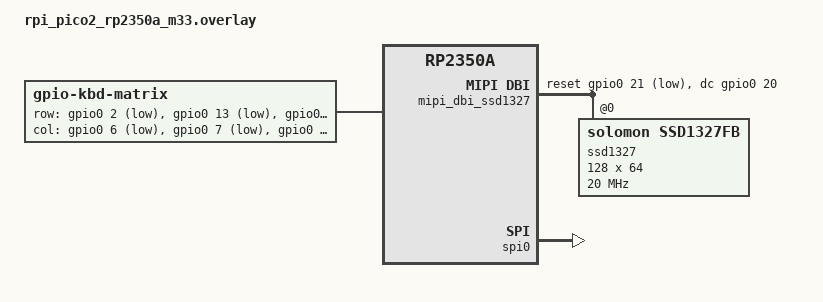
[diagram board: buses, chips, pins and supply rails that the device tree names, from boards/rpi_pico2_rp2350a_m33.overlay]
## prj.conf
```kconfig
CONFIG_DISPLAY=n
CONFIG_LOG=y
CONFIG_L3=y
CONFIG_ENGINE=y
CONFIG_HEAP_MEM_POOL_SIZE=4096
CONFIG_INPUT=n
CONFIG_TIMING_FUNCTIONS=y
CONFIG_SPEED_OPTIMIZATIONS=y
CONFIG_LOG_PERFORMANCE=n
CONFIG_TEST_RANDOM_GENERATOR=y
CONFIG_TIMER_RANDOM_GENERATOR=y
CONFIG_HEADLESS=y

#LVGL
CONFIG_LVGL=n

CONFIG_TARGET_PROCESS_FPS=30
CONFIG_TARGET_RENDER_FPS=30
CONFIG_RESOLUTION_X=128
CONFIG_RESOLUTION_Y=64
CONFIG_ISR_STACK_SIZE=8192
CONFIG_MAIN_STACK_SIZE=8192
CONFIG_BLIT_THREAD_STACK=8192
CONFIG_RENDER_THREAD_STACK=8192
CONFIG_PROCESS_THREAD_STACK=8192
CONFIG_LOG_BUFFER_SIZE=4096

CONFIG_COMPILER_OPT="-Ofast -ffast-math"
```

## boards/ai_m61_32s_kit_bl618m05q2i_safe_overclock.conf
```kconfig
CONFIG_TARGET_PROCESS_FPS=30
CONFIG_TARGET_RENDER_FPS=23
CONFIG_RESOLUTION_X=128
CONFIG_RESOLUTION_Y=64
CONFIG_ISR_STACK_SIZE=8192
CONFIG_MAIN_STACK_SIZE=8192
CONFIG_BLIT_THREAD_STACK=8192
CONFIG_RENDER_THREAD_STACK=8192
CONFIG_PROCESS_THREAD_STACK=8192
CONFIG_LOG_BUFFER_SIZE=4096
CONFIG_COMPILER_OPT="-Ofast -ffast-math -funroll-loops -finline-functions -falign-functions=4 -falign-jumps=4 -falign-loops=4"
```

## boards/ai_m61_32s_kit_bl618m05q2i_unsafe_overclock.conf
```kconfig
CONFIG_TARGET_PROCESS_FPS=30
CONFIG_TARGET_RENDER_FPS=28
CONFIG_RESOLUTION_X=128
CONFIG_RESOLUTION_Y=64
CONFIG_SSD1327_DEFAULT_CONTRAST=160
CONFIG_SSD1327_CONV_BUFFER_LINES=64
CONFIG_LV_DEF_REFR_PERIOD=5
CONFIG_ISR_STACK_SIZE=8192
CONFIG_MAIN_STACK_SIZE=8192
CONFIG_BLIT_THREAD_STACK=8192
CONFIG_RENDER_THREAD_STACK=8192
CONFIG_PROCESS_THREAD_STACK=8192
CONFIG_LOG_BUFFER_SIZE=4096
CONFIG_COMPILER_OPT="-Ofast -ffast-math -funroll-loops -finline-functions -falign-functions=4 -falign-jumps=4 -falign-loops=4"
```

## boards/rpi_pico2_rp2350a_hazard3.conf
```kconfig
CONFIG_TARGET_PROCESS_FPS=30
CONFIG_TARGET_RENDER_FPS=15
CONFIG_RESOLUTION_X=128
CONFIG_RESOLUTION_Y=64
CONFIG_SSD1327_DEFAULT_CONTRAST=64
CONFIG_SSD1327_CONV_BUFFER_LINES=64
CONFIG_LV_DEF_REFR_PERIOD=5
CONFIG_ISR_STACK_SIZE=8192
CONFIG_MAIN_STACK_SIZE=8192
CONFIG_BLIT_THREAD_STACK=8192
CONFIG_RENDER_THREAD_STACK=8192
CONFIG_PROCESS_THREAD_STACK=8192
CONFIG_COMPILER_OPT="-Ofast -ffast-math -funroll-loops -finline-functions -falign-functions=4 -falign-jumps=4 -falign-loops=4"
CONFIG_BOARD_EARLY_INIT_HOOK=y
```

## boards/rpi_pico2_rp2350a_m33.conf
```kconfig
CONFIG_TARGET_PROCESS_FPS=30
CONFIG_TARGET_RENDER_FPS=17
CONFIG_RESOLUTION_X=128
CONFIG_RESOLUTION_Y=64
CONFIG_SSD1327_DEFAULT_CONTRAST=64
CONFIG_SSD1327_CONV_BUFFER_LINES=64
CONFIG_LV_DEF_REFR_PERIOD=5
CONFIG_ISR_STACK_SIZE=8192
CONFIG_MAIN_STACK_SIZE=8192
CONFIG_BLIT_THREAD_STACK=8192
CONFIG_RENDER_THREAD_STACK=8192
CONFIG_PROCESS_THREAD_STACK=8192
CONFIG_COMPILER_OPT="-Ofast -ffast-math -funroll-loops -finline-functions -falign-functions=4 -falign-jumps=4 -falign-loops=4"
CONFIG_BOARD_EARLY_INIT_HOOK=y
```

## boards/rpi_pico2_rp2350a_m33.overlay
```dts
#include <zephyr/dt-bindings/input/keymap.h>
#include <zephyr/dt-bindings/input/input-event-codes.h>
#include <zephyr/dt-bindings/spi/spi.h>

&clk_hstx {
	compatible = "raspberrypi,pico-clock";
	clocks = <&pll_sys>;
	clock-names = "pll_sys";
	clock-frequency = <375000000>;
	#clock-cells = <0>;
};

&clk_ref {
	compatible = "raspberrypi,pico-clock";
	clocks = <&xosc>;
	clock-names = "xosc";
	clock-frequency = <12000000>;
	#clock-cells = <0>;
};

&clk_sys {
	compatible = "raspberrypi,pico-clock";
	clocks = <&pll_sys>;
	clock-names = "pll_sys";
	clock-frequency = <375000000>;
	#clock-cells = <0>;
};

&clk_usb {
	compatible = "raspberrypi,pico-clock";
	clocks = <&pll_usb>;
	clock-names = "pll_usb";
	clock-frequency = <48000000>;
	#clock-cells = <0>;
};

&clk_adc {
	compatible = "raspberrypi,pico-clock";
	clocks = <&pll_usb>;
	clock-names = "pll_usb";
	clock-frequency = <48000000>;
	#clock-cells = <0>;
};

&clk_peri {
	compatible = "raspberrypi,pico-clock";
	clocks = <&clk_sys>;
	clock-names = "clk_sys";
	clock-frequency = <375000000>;
	#clock-cells = <0>;
};

&pll_sys {
	compatible = "raspberrypi,pico-pll";
	clocks = <&xosc>;
	clock-names = "xosc";
	clock-div = <1>;
	fb-div = <125>;
	post-div1 = <4>;
	post-div2 = <1>;
	#clock-cells = <0>;
};

&pll_usb {
	compatible = "raspberrypi,pico-pll";
	clocks = <&xosc>;
	clock-names = "xosc";
	clock-div = <1>;
	fb-div = <100>;
	post-div1 = <5>;
	post-div2 = <5>;
	#clock-cells = <0>;
};


/ {
	chosen {
		zephyr,display = &ssd1327;
	};

};

/ {

	mipi_dbi_ssd1327 {
		compatible = "zephyr,mipi-dbi-spi";
		spi-dev = <&spi0>;
		dc-gpios = <&gpio0 20 GPIO_ACTIVE_HIGH>;
		reset-gpios = <&gpio0 21 GPIO_ACTIVE_LOW>;
		write-only;
		#address-cells = <1>;
		#size-cells = <0>;

		ssd1327: ssd1327@0 {
			compatible = "solomon,ssd1327fb";
			mipi-max-frequency = <20000000>;
			reg = <0>;
			width = <128>;
			height = <64>;
			prechargep = <0x5>;
			precharge-voltage = <0x7>;
			remap-value = <0x53>;
			oscillator-freq = <0xA1>;
			display-offset = <0x40>;
			start-line = <0>;
			multiplex-ratio = <0x3f>;
			phase-length = <0x29>;
			mipi-mode = "MIPI_DBI_MODE_SPI_4WIRE";
			grayscale-table = [04 06 08 0A 0C 0D 10 12 14 16 18 1C 20 24 3C];
		};
	};
};

&spi0 {
	status = "okay";
};


&i2c0 {
	status = "disabled";
};

&i2c1 {
	status = "disabled";
};

/ {
	kbd-matrix {
		compatible = "gpio-kbd-matrix";
		row-gpios = <&gpio0 2 (GPIO_PULL_UP | GPIO_ACTIVE_LOW)>, // dummmy
					<&gpio0 13 (GPIO_PULL_UP | GPIO_ACTIVE_LOW)>,
					<&gpio0 12 (GPIO_PULL_UP | GPIO_ACTIVE_LOW)>,
					<&gpio0 11 (GPIO_PULL_UP | GPIO_ACTIVE_LOW)>,
					<&gpio0 10 (GPIO_PULL_UP | GPIO_ACTIVE_LOW)>;
		col-gpios = <&gpio0 6 GPIO_ACTIVE_LOW>,
					<&gpio0 7 GPIO_ACTIVE_LOW>,
					<&gpio0 8 GPIO_ACTIVE_LOW>,
					<&gpio0 9 GPIO_ACTIVE_LOW>;
		keymap {
			compatible = "input-keymap";
			keymap = <
				MATRIX_KEY(3, 1, INPUT_KEY_W)
				MATRIX_KEY(4, 1, INPUT_KEY_S)
				MATRIX_KEY(4, 0, INPUT_KEY_A)
				MATRIX_KEY(4, 2, INPUT_KEY_D)
				MATRIX_KEY(3, 0, INPUT_KEY_LEFT)
				MATRIX_KEY(3, 2, INPUT_KEY_RIGHT)
				MATRIX_KEY(1, 3, INPUT_KEY_UP)
				MATRIX_KEY(2, 3, INPUT_KEY_DOWN)
				MATRIX_KEY(3, 3, INPUT_KEY_LEFTSHIFT)
				MATRIX_KEY(4, 3, INPUT_KEY_SPACE)
			>;
			row-size = <5>;
			col-size = <4>;
		};
	};
};
```

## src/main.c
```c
#include <zephyr/kernel.h>
#include <zephyr/device.h>
#include <zephyr/timing/timing.h>
#include <stdio.h>
#include <stdlib.h>
#include <zephyr/random/random.h>
#include <math.h>

#include <zephyr/logging/log.h>
LOG_MODULE_REGISTER(main);

#define ENGINE_BLIT_FUNCTION blit_display

#include "engine.h"
#include "utility.h"
#include "logo_scene.h"

#include "map.h"

#include "filters.h"

#include "skybox/h2s_bk.h"
#include "skybox/h2s_dn.h"
#include "skybox/h2s_ft.h"
#include "skybox/h2s_lf.h"
#include "skybox/h2s_rt.h"
#include "skybox/h2s_up.h"

int blit_display(L3_COLORTYPE *buffer, uint16_t x, uint16_t y, uint16_t size_x, uint16_t size_y)
{
	return 0;
}

typedef struct {
	L3_Unit vx;
	L3_Unit vy;
	L3_Unit z;
	L3_Unit x;
	L3_Unit speedmul;
	L3_Unit jump;
	L3_Unit xrot;
} Controls;

static Engine_Object* player = 0;

static void process() {
	if (player != 0) {
		L3_Camera *camera = engine_getcamera();
		camera->transform = player->visual.transform;
	}
}

#define CAM_ANIM_0(i, _) {.type = 2, .transform = {.translation = {.x = 0, .y = 0, .z = 0}, .rotation = {0}, .scale = {0}}}
#define CAM_ANIM_1(i, _) {.type = 2, .transform = {.translation = {.x = 0, .y = 0, .z = 128}, .rotation = {0}, .scale = {0}}}
#define CAM_ANIM_2(i, _) {.type = 2, .transform = {.translation = {.x = 0, .y = 32, .z = 0}, .rotation = {.x = -1, .y = 4, .z = 0}, .scale = {0}}}
#define CAM_ANIM_3(i, _) {.type = 2, .transform = {.translation = {.x = 0, .y = 0, .z = -128}, .rotation = {0}, .scale = {0}}}
#define CAM_ANIM_4(i, _) {.type = 2, .transform = {.translation = {.x = 0, .y = -32, .z = 0}, .rotation = {.x = 1, .y = 2, .z = 0}, .scale = {0}}}
#define CAM_ANIM_5(i, _) {.type = 2, .transform = {.translation = {.x = 16, .y = 0, .z = 0}, .rotation = {0}, .scale = {0}}}

const ObjectProcess_FrameArray_Frame camera_animation_impl_frames[] = {
	LISTIFY(50, CAM_ANIM_0, (,)),
	LISTIFY(300, CAM_ANIM_1, (,)),
	LISTIFY(64, CAM_ANIM_2, (,)),
	LISTIFY(70, CAM_ANIM_3, (,)),
	LISTIFY(64, CAM_ANIM_4, (,)),
	LISTIFY(200, CAM_ANIM_5, (,)),
};

const ObjectProcess_FrameArray camera_animation_impl = {
	.len = ARRAY_SIZE(camera_animation_impl_frames),
	.loop = false,
	.frames = camera_animation_impl_frames,
};

Engine_Object *camera_animation_objects[1];

Animation camera_animation = ANIMATION_INIT(
	camera_animation_objects,
	(void*[]) {(void*)&camera_animation_impl},
	(AnimationObjectProcess[]) {utility_animation_objectprocess_framearray},
	1, 30,
	ARRAY_SIZE(camera_animation_impl_frames),
	false
);

void scene_init(void *data)
{
	Engine_Object tmp = {0};
	L3_transform3DSet(0 * L3_F,1.5*L3_F,-20*L3_F,0,0,0,L3_F,L3_F,L3_F,&(tmp.visual.transform));
	tmp.view_range = 16 * L3_F;
	tmp.visual_type = ENGINE_VISUAL_NOTHING;
	player = engine_add_object(tmp);
	camera_animation_objects[0] = player;

	L3_Camera *camera = engine_getcamera();
	camera->focalLength = 288;
}

static uint32_t bench_frames;
float engine_rFPS_avg;
int last_t = -1;

#define BAR_LEN 20

void print_progress_bar(size_t value, size_t min, size_t max, size_t len)
{
	size_t t = ((value - min) * len) / max;

	printf("\e[1A[");
	for (int i = 0; i < len; i++) {
		if (t >= i) {
			printf("=");
		} else {
			printf(" ");
		}
	}
	printf("]\n");
}

void scene_pf(Engine_Scene *self)
{
	int t = (camera_animation.frame_counter * BAR_LEN) / ARRAY_SIZE(camera_animation_impl_frames);

	if (!camera_animation.started)
	{
		bench_frames = 0;
	}
	if (camera_animation.finished) {
		camera_animation.finished = false;
		camera_animation.started = false;
#if defined(CONFIG_FPU)
		printf("Average Render Frame/Second (RFPS): %f\n\n", (double)engine_rFPS_avg);
#else
		printf("Average Render Frame/Second (RFPS): %d\n\n", (int)engine_rFPS_avg);
#endif
		L3_transform3DSet(0 * L3_F,1.5*L3_F,-20*L3_F,0,0,0,L3_F,L3_F,L3_F, &player->visual.transform);
	} else {
		if (bench_frames > 0) {
			engine_rFPS_avg = (engine_rFPS_avg * (bench_frames - 1) + engine_rFPS) / bench_frames;
		}
		if (t != last_t) {
			print_progress_bar(camera_animation.frame_counter, 0, ARRAY_SIZE(camera_animation_impl_frames), BAR_LEN);
			last_t = t;
		}
		utility_animation_process(&camera_animation);
	}
}

Engine_Scene scene = {0};

static Filter_f default_scene_filters[] = {
	filter_fixgap,
};

L3_Skybox skybox = {
	.faces.front = &h2s_ft,
	.faces.back = &h2s_bk,
	.faces.left = &h2s_lf,
	.faces.right = &h2s_rt,
	.faces.top = &h2s_up,
	.faces.bottom = &h2s_dn,
};

int engine_render_hook_post(void) {
	bench_frames++;
	return 0;
}


int main()
{
	timing_init();
	timing_start();

	k_msleep(100);

	init_engine(&process);

	scene.inf = scene_init;
	scene.pf = scene_pf;
	scene.statics = map;
	scene.statics_count = sizeof(map) / sizeof(*map);
	scene.filters_count = 1,
	scene.filters = default_scene_filters,
	scene.skybox = &skybox;

	engine_switchscene(&logo_scene);
	k_msleep(100);

	engine_switchscene(&scene);
	engine_statics_enabled(true);

	printf("Benching...\n\n");

	return 0;
}
```
